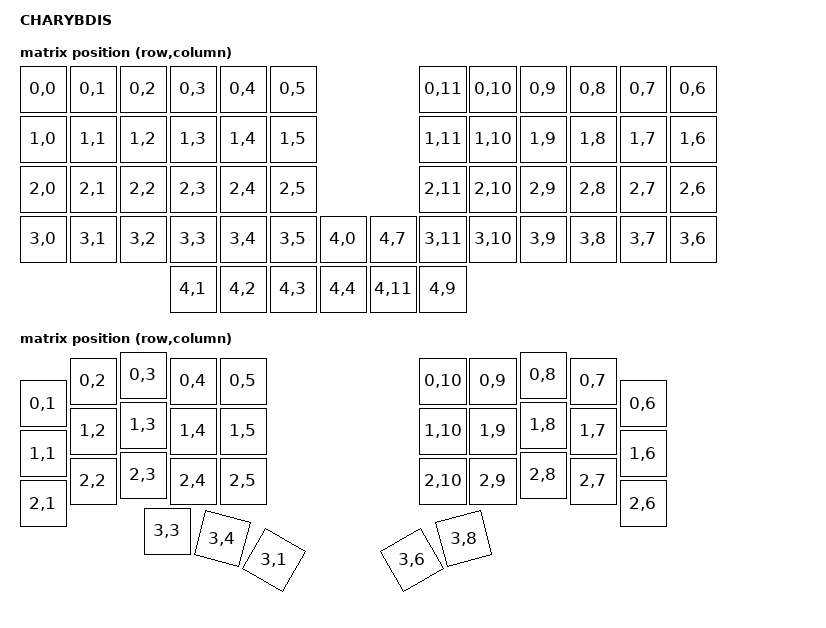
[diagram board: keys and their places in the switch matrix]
#include <nordic/nrf52840_qiaa.dtsi>
#include <dt-bindings/zmk/matrix_transform.h>
#include <physical_layouts.dtsi>

/ {
    chosen {
        zmk,kscan = &kscan0;
        zmk,physical-layout = &charybdis_6col_layout;
    };

    default_transform: keymap_transform_0 {
        compatible = "zmk,matrix-transform";
        columns = <12>;
        rows = <5>;

        map = <
	RC(0,0) RC(0,1) RC(0,2) RC(0,3) RC(0,4) RC(0,5)  RC(0,11) RC(0,10) RC(0,9) RC(0,8) RC(0,7) RC(0,6)
	RC(1,0) RC(1,1) RC(1,2) RC(1,3) RC(1,4) RC(1,5)  RC(1,11) RC(1,10) RC(1,9) RC(1,8) RC(1,7) RC(1,6)
	RC(2,0) RC(2,1) RC(2,2) RC(2,3) RC(2,4) RC(2,5)  RC(2,11) RC(2,10) RC(2,9) RC(2,8) RC(2,7) RC(2,6)
							RC(3,3) RC(3,4) RC(3,1)  RC(3,7)  RC(3,9)
        >;
    };

    five_column_transform: keymap_transform_1 {
        compatible = "zmk,matrix-transform";
        columns = <10>;
        rows = <4>;

        map = <
	RC(0,1) RC(0,2) RC(0,3) RC(0,4) RC(0,5)  RC(0,10) RC(0,9) RC(0,8) RC(0,7) RC(0,6)
	RC(1,1) RC(1,2) RC(1,3) RC(1,4) RC(1,5)  RC(1,10) RC(1,9) RC(1,8) RC(1,7) RC(1,6)
	RC(2,1) RC(2,2) RC(2,3) RC(2,4) RC(2,5)  RC(2,10) RC(2,9) RC(2,8) RC(2,7) RC(2,6)
					RC(3,3) RC(3,4) RC(3,1)  RC(3,6)  RC(3,8)
        >;
    };
	
    kscan0: kscan {
        diode-direction = "row2col";
    };

    charybdis_6col_layout: charybdis_6col_layout {
        compatible = "zmk,physical-layout";
        display-name = "6-column";

        transform = <&default_transform>;

        keys  //                     w   h    x    y     rot    rx    ry
            = <&key_physical_attrs 100 100    0   57       0     0     0>
            , <&key_physical_attrs 100 100  100   57       0     0     0>
            , <&key_physical_attrs 100 100  200   12       0     0     0>
            , <&key_physical_attrs 100 100  300    0       0     0     0>
            , <&key_physical_attrs 100 100  400   12       0     0     0>
            , <&key_physical_attrs 100 100  500   12       0     0     0>
            , <&key_physical_attrs 100 100  900   12       0     0     0>
            , <&key_physical_attrs 100 100 1000   12       0     0     0>
            , <&key_physical_attrs 100 100 1100    0       0     0     0>
            , <&key_physical_attrs 100 100 1200   12       0     0     0>
            , <&key_physical_attrs 100 100 1300   57       0     0     0>
            , <&key_physical_attrs 100 100 1400   57       0     0     0>
            , <&key_physical_attrs 100 100    0  157       0     0     0>
            , <&key_physical_attrs 100 100  100  157       0     0     0>
            , <&key_physical_attrs 100 100  200  112       0     0     0>
            , <&key_physical_attrs 100 100  300  100       0     0     0>
            , <&key_physical_attrs 100 100  400  112       0     0     0>
            , <&key_physical_attrs 100 100  500  112       0     0     0>
            , <&key_physical_attrs 100 100  900  112       0     0     0>
            , <&key_physical_attrs 100 100 1000  112       0     0     0>
            , <&key_physical_attrs 100 100 1100  100       0     0     0>
            , <&key_physical_attrs 100 100 1200  112       0     0     0>
            , <&key_physical_attrs 100 100 1300  157       0     0     0>
            , <&key_physical_attrs 100 100 1400  157       0     0     0>
            , <&key_physical_attrs 100 100    0  257       0     0     0>
            , <&key_physical_attrs 100 100  100  257       0     0     0>
            , <&key_physical_attrs 100 100  200  212       0     0     0>
            , <&key_physical_attrs 100 100  300  200       0     0     0>
            , <&key_physical_attrs 100 100  400  212       0     0     0>
            , <&key_physical_attrs 100 100  500  212       0     0     0>
            , <&key_physical_attrs 100 100  900  212       0     0     0>
            , <&key_physical_attrs 100 100 1000  212       0     0     0>
            , <&key_physical_attrs 100 100 1100  200       0     0     0>
            , <&key_physical_attrs 100 100 1200  212       0     0     0>
            , <&key_physical_attrs 100 100 1300  257       0     0     0>
            , <&key_physical_attrs 100 100 1400  257       0     0     0>
            , <&key_physical_attrs 100 100  348  312       0     0     0>
            , <&key_physical_attrs 100 100  348  312    1500   398   789>
            , <&key_physical_attrs 100 100  348  312    3000   398   789>
            , <&key_physical_attrs 100 100 1052  312 (-3000)  1102   789>
            , <&key_physical_attrs 100 100 1052  312 (-1500)  1102   789>
            ;
    };

    charybdis_5col_layout: charybdis_5col_layout{
        compatible = "zmk,physical-layout";
        display-name = "5-column";

        transform = <&five_column_transform>;

        keys  //                     w   h    x    y     rot    rx    ry
            = <&key_physical_attrs 100 100    0   57       0     0     0>
            , <&key_physical_attrs 100 100  100   12       0     0     0>
            , <&key_physical_attrs 100 100  200    0       0     0     0>
            , <&key_physical_attrs 100 100  300   12       0     0     0>
            , <&key_physical_attrs 100 100  400   12       0     0     0>
            , <&key_physical_attrs 100 100  800   12       0     0     0>
            , <&key_physical_attrs 100 100  900   12       0     0     0>
            , <&key_physical_attrs 100 100 1000    0       0     0     0>
            , <&key_physical_attrs 100 100 1100   12       0     0     0>
            , <&key_physical_attrs 100 100 1200   57       0     0     0>
            , <&key_physical_attrs 100 100    0  157       0     0     0>
            , <&key_physical_attrs 100 100  100  112       0     0     0>
            , <&key_physical_attrs 100 100  200  100       0     0     0>
            , <&key_physical_attrs 100 100  300  112       0     0     0>
            , <&key_physical_attrs 100 100  400  112       0     0     0>
            , <&key_physical_attrs 100 100  800  112       0     0     0>
            , <&key_physical_attrs 100 100  900  112       0     0     0>
            , <&key_physical_attrs 100 100 1000  100       0     0     0>
            , <&key_physical_attrs 100 100 1100  112       0     0     0>
            , <&key_physical_attrs 100 100 1200  157       0     0     0>
            , <&key_physical_attrs 100 100    0  257       0     0     0>
            , <&key_physical_attrs 100 100  100  212       0     0     0>
            , <&key_physical_attrs 100 100  200  200       0     0     0>
            , <&key_physical_attrs 100 100  300  212       0     0     0>
            , <&key_physical_attrs 100 100  400  212       0     0     0>
            , <&key_physical_attrs 100 100  800  212       0     0     0>
            , <&key_physical_attrs 100 100  900  212       0     0     0>
            , <&key_physical_attrs 100 100 1000  200       0     0     0>
            , <&key_physical_attrs 100 100 1100  212       0     0     0>
            , <&key_physical_attrs 100 100 1200  257       0     0     0>
            , <&key_physical_attrs 100 100  248  312       0     0     0>
            , <&key_physical_attrs 100 100  248  312    1500   298   789>
            , <&key_physical_attrs 100 100  248  312    3000   298   789>
            , <&key_physical_attrs 100 100  952  312 (-3000)  1002   789>
            , <&key_physical_attrs 100 100  952  312 (-1500)  1002   789>
            ;
    };

    charybdis_position_map {
        compatible = "zmk,physical-layout-position-map";

        complete;

        twelve {
            physical-layout = <&charybdis_6col_layout>;
            positions
                = < 0  1  2  3  4  5  6  7  8  9 10 11 >
                , <12 13 14 15 16 17 18 19 20 21 22 23 >
                , <24 25 26 27 28 29 30 31 32 33 34 35 >
                , <36 37 38 39 40 41 42 43 44 45 46 47 >
                , <         37 38 39 40 41             >
                ;
        };

        ten {
            physical-layout = <&charybdis_5col_layout>;
            positions
                = <35  0  1  2  3  4  5  6  7  8  9 36>
                , <37 10 11 12 13 14 15 16 17 18 19 38>
                , <39 20 21 22 23 24 25 26 27 28 29 40>
                , <         30 31 32 33 34            >
                ;
        };
    };
};

/ {
    model = "CHARYBDIS";
    compatible = "charybdis";

    chosen {
        zephyr,code-partition = &code_partition;
        zephyr,sram = &sram0;
        zephyr,flash = &flash0;
        zephyr,console = &cdc_acm_uart;
        zephyr,shell-uart = &cdc_acm_uart;
        zmk,kscan = &kscan0;
        zmk,matrix_transform = &default_transform;
        zmk,battery = &vbatt;

    };

    vbatt: vbatt {
  		compatible = "zmk,battery-voltage-divider";
  		label = "BATTERY";
  		io-channels = <&adc 2>;
  		output-ohms = <2000000>;
  		full-ohms = <(2000000 + 806000)>;
  	};

    default_transform: keymap_transform_0 {
        compatible = "zmk,matrix-transform";
        columns = <12>;
        rows = <5>;
// | SW6  | SW5  | SW4  | SW3  | SW2  | SW1  |                 | SW1  | SW2  | SW3  | SW4  | SW5  | SW6  |
// | SW12 | SW11 | SW10 | SW9  | SW8  | SW7  |                 | SW7  | SW8  | SW9  | SW10 | SW11 | SW12 |
// | SW18 | SW17 | SW16 | SW15 | SW14 | SW13 |                 | SW13 | SW14 | SW15 | SW16 | SW17 | SW18 |
// | SW24 | SW23 | SW22 | SW21 | SW20 | SW19 | SW25 |   | SW25 | SW19 | SW20 | SW21 | SW22 | SW23 | SW24 |
//               | SW30 | SW29 | SW28 | SW27 | SW26 |   | SW26 | SW27 | SW28 | SW29 | SW30 |
        map = <
RC(0,0) RC(0,1) RC(0,2) RC(0,3) RC(0,4) RC(0,5)                 RC(0,11) RC(0,10) RC(0,9)  RC(0,8) RC(0,7) RC(0,6)
RC(1,0) RC(1,1) RC(1,2) RC(1,3) RC(1,4) RC(1,5)                 RC(1,11) RC(1,10) RC(1,9)  RC(1,8) RC(1,7) RC(1,6)
RC(2,0) RC(2,1) RC(2,2) RC(2,3) RC(2,4) RC(2,5)                 RC(2,11) RC(2,10) RC(2,9)  RC(2,8) RC(2,7) RC(2,6)
RC(3,0) RC(3,1) RC(3,2) RC(3,3) RC(3,4) RC(3,5) RC(4,0) RC(4,7) RC(3,11) RC(3,10) RC(3,9)  RC(3,8) RC(3,7) RC(3,6)
                        RC(4,1) RC(4,2) RC(4,3) RC(4,4) RC(4,11) RC(4,9)
        >;
    };

    kscan0: kscan {
        compatible = "zmk,kscan-gpio-matrix";
        label = "KSCAN";
        diode-direction = "row2col";

    };
    trackballs {
        compatible = "zmk,keymap-trackballs";
        trackballs = <&trackball>;
    };
 };

&adc {
    status = "okay";
};

&gpiote {
  status = "okay";
};

&gpio0 {
    status = "okay";
};

&gpio1 {
    status = "okay";
};

&usbd {
    status = "okay";
    cdc_acm_uart: cdc_acm_uart {
        compatible = "zephyr,cdc-acm-uart";
        label = "CDC_ACM_0";
    };
};

&pwm0 {
    status = "okay";
};

&flash0 {
  partitions {
    compatible = "fixed-partitions";
    #address-cells = <1>;
    #size-cells = <1>;

    sd_partition: partition@0 {
      label = "mbr";
      reg = <0x00000000 0x00001000>;
    };
    code_partition: partition@1000 {
      label = "code_partition";
      reg = <0x00001000 0x000d3000>;
    };
    storage_partition: partition@ec000 {
      label = "storage";
      reg = <0x000ec000 0x00008000>;
    };
    boot_partition: partition@f4000 {
      label = "adafruit_boot";
      reg = <0x000f4000 0x0000c000>;
    };
  };
};

&spi0 {
  compatible = "nordic,nrf-spim";
  status = "disabled";

  trackball: trackball@0 {
    compatible = "pixart,pmw3360";
    status = "disabled";
    reg = <0>;
    label = "TRACKBALL";
    spi-max-frequency = <2000000>;
    scroll-layer = <5>;
  };
};

